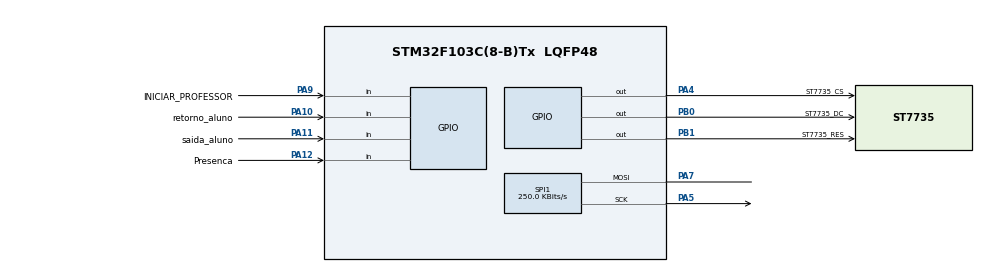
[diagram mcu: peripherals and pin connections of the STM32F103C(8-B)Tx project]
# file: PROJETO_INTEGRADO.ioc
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Mcu.Family=STM32F1
Mcu.Name=STM32F103C(8-B)Tx
Mcu.Package=LQFP48
NVIC.PriorityGroup=NVIC_PRIORITYGROUP_4
PA10.GPIO_Label=retorno_aluno
PA10.GPIO_PuPd=GPIO_PULLUP
PA10.Signal=GPIO_Input
PA11.GPIO_Label=saida_aluno
PA11.GPIO_PuPd=GPIO_PULLUP
PA11.Signal=GPIO_Input
PA12.GPIO_Label=Presenca
PA12.GPIO_PuPd=GPIO_PULLUP
PA12.Signal=GPIO_Input
PA13.Mode=Serial_Wire
PA13.Signal=SYS_JTMS-SWDIO
PA14.Mode=Serial_Wire
PA14.Signal=SYS_JTCK-SWCLK
PA4.GPIO_Label=ST7735_CS
PA4.Signal=GPIO_Output
PA5.Mode=Simplex_Bidirectional_Master
PA5.Signal=SPI1_SCK
PA7.Mode=Simplex_Bidirectional_Master
PA7.Signal=SPI1_MOSI
PA9.GPIO_Label=INICIAR_PROFESSOR
PA9.GPIO_PuPd=GPIO_PULLUP
PA9.Signal=GPIO_Input
PB0.GPIO_Label=ST7735_DC
PB0.Signal=GPIO_Output
PB1.GPIO_Label=ST7735_RES
PB1.Signal=GPIO_Output
ProjectManager.HeapSize=0x200
ProjectManager.StackSize=0x400
ProjectManager.TargetToolchain=STM32CubeIDE
RCC.APB1Freq_Value=8000000
RCC.APB2Freq_Value=8000000
SPI1.BaudRatePrescaler=SPI_BAUDRATEPRESCALER_32
SPI1.CalculateBaudRate=250.0 KBits/s
SPI1.Direction=SPI_DIRECTION_1LINE
SPI1.Mode=SPI_MODE_MASTER
SPI1.VirtualType=VM_MASTER
board=custom

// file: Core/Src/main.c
/* USER CODE BEGIN Header */
/**
  ******************************************************************************
  * @file           : main.c
  * @brief          : Main program body
  ******************************************************************************
  * @attention
  *
  * <h2><center>&copy; Copyright (c) 2026 STMicroelectronics.
  * All rights reserved.</center></h2>
  *
  * This software component is licensed by ST under BSD 3-Clause license,
  * the "License"; You may not use this file except in compliance with the
  * License. You may obtain a copy of the License at:
  *                        opensource.org/licenses/BSD-3-Clause
  *
  ******************************************************************************
  */
/* USER CODE END Header */
#include "main.h"

/* USER CODE BEGIN Includes */
#include <stdlib.h>
#include <stdio.h>
#include "fonts.h"
#include <string.h>
#include "st7735.h"
/* USER CODE END Includes */

/* USER CODE BEGIN PTD */
typedef enum {
TELA_INICIO,
TELA_SENHA,
TELA_MENU,
TELA_PRESENCA,
TELA_SAIDA,
TELA_BLOQUEADO,
TELA_RELATORIO
} Tela;
/* USER CODE END PTD */

/* USER CODE BEGIN PD */
#define INICIAR_PROFESSOR_PORT GPIOA
#define INICIAR_PROFESSOR_PIN GPIO_PIN_9

#define RETORNO_ALUNO_PORT GPIOA
#define RETORNO_ALUNO_PIN GPIO_PIN_10

#define SAIDA_ALUNO_PORT GPIOA
#define SAIDA_ALUNO_PIN GPIO_PIN_11

#define PRESENCA_PORT GPIOA
#define PRESENCA_PIN GPIO_PIN_12

#define READ_BTN(port, pin) HAL_GPIO_ReadPin(port, pin)

#define MAX_FORA 3
#define MENU_TOTAL 4
/* USER CODE END PD */

SPI_HandleTypeDef hspi1;

/* USER CODE BEGIN PV */
GPIO_PinState estado_anterior = GPIO_PIN_RESET;
GPIO_PinState est_inicio_ant = GPIO_PIN_RESET;
GPIO_PinState est_presenca_ant = GPIO_PIN_RESET;
GPIO_PinState est_saida_ant = GPIO_PIN_RESET;
GPIO_PinState est_retorno_ant = GPIO_PIN_RESET;

char buffer[30];

uint8_t index_senha = 0;
char senha_correta[] = "1234";
char senha_digitada[5];

int tentativas = 0;
int tentativas_max = 3;

uint8_t indice = 0; //controla a posição da string a proxima tecla é slv
uint32_t tempo_inicio = 0;
uint32_t tempo = 0;
uint8_t bloqueado = 0;
uint8_t tempo_bloqueado = 30;
uint8_t tempo_inicio_bloqueio = 0;

uint8_t alunos_presentes = 0;
uint8_t alunos_fora = 0;
uint8_t alunos_maximo = 40;

Tela tela_atual = TELA_INICIO;

uint8_t menu_index = 0;
static uint8_t tela_anterior = 255;
uint16_t total_saidas = 0;
/* USER CODE END PV */

void SystemClock_Config(void);
static void MX_GPIO_Init(void);
static void MX_SPI1_Init(void);

int main(void)
{

  /* MCU Configuration--------------------------------------------------------*/

  /* Reset of all peripherals, Initializes the Flash interface and the Systick. */
  HAL_Init();

  /* Configure the system clock */
  SystemClock_Config();

  /* Initialize all configured peripherals */
  MX_GPIO_Init();
  MX_SPI1_Init();
  /* USER CODE BEGIN 2 */
  ST7735_Init();

  /* USER CODE END 2 */

  /* Infinite loop */
  /* USER CODE BEGIN WHILE */
  while (1)
  {

	  GPIO_PinState INICIAR_PROFESSOR = HAL_GPIO_ReadPin(INICIAR_PROFESSOR_PORT, INICIAR_PROFESSOR_PIN);
	  GPIO_PinState PRESENCA = HAL_GPIO_ReadPin(PRESENCA_PORT, PRESENCA_PIN);
	  GPIO_PinState SAIDA_ALUNO = HAL_GPIO_ReadPin(SAIDA_ALUNO_PORT, SAIDA_ALUNO_PIN);
	  GPIO_PinState RETORNO_ALUNO = HAL_GPIO_ReadPin(RETORNO_ALUNO_PORT, RETORNO_ALUNO_PIN);

	  if (tela_atual != tela_anterior)
	  {
	      ST7735_FillScreen(BLACK);
	      tela_anterior = tela_atual;
	  }

	  switch (tela_atual){

	  // =========================
	  case TELA_INICIO:
	// =========================

	  ST7735_WriteString(10, 20, "Pressione o botao para INICIAR", Font_7x10, WHITE, BLACK);

	  if (INICIAR_PROFESSOR == GPIO_PIN_RESET ){

		  HAL_Delay(200);

		  tela_atual = TELA_SENHA;

	  }
	  break;

	  case TELA_SENHA:

	      ST7735_WriteString(10, 10, "Digite a senha", Font_7x10, WHITE, BLACK);

	      // Mostra exatamente os dígitos digitados
	      sprintf(buffer, "Senha: %s", senha_digitada);
	      ST7735_WriteString(10, 30, buffer, Font_7x10, WHITE, BLACK);

	      // Só permite até 4 dígitos
	      if(index_senha < 4)
	      {
	          // BOTAO 1
	          if(HAL_GPIO_ReadPin(GPIOA, GPIO_PIN_9) == GPIO_PIN_RESET)
	          {
	              HAL_Delay(50);

	              if(HAL_GPIO_ReadPin(GPIOA, GPIO_PIN_9) == GPIO_PIN_RESET)
	              {
	                  senha_digitada[index_senha++] = '1';
	                  senha_digitada[index_senha] = '\0';

	                  HAL_Delay(200);
	              }
	          }

	          // BOTAO 2
	          if(HAL_GPIO_ReadPin(GPIOA, GPIO_PIN_10) == GPIO_PIN_RESET)
	          {
	              HAL_Delay(50);

	              if(HAL_GPIO_ReadPin(GPIOA, GPIO_PIN_10) == GPIO_PIN_RESET)
	              {
	                  senha_digitada[index_senha++] = '2';
	                  senha_digitada[index_senha] = '\0';

	                  HAL_Delay(200);
	              }
	          }

	          // BOTAO 3
	          if(HAL_GPIO_ReadPin(GPIOA, GPIO_PIN_11) == GPIO_PIN_RESET)
	          {
	              HAL_Delay(50);

	              if(HAL_GPIO_ReadPin(GPIOA, GPIO_PIN_11) == GPIO_PIN_RESET)
	              {
	                  senha_digitada[index_senha++] = '3';
	                  senha_digitada[index_senha] = '\0';

	                  HAL_Delay(200);
	              }
	          }

	          // BOTAO 4
	          if(HAL_GPIO_ReadPin(GPIOA, GPIO_PIN_12) == GPIO_PIN_RESET)
	          {
	              HAL_Delay(50);

	              if(HAL_GPIO_ReadPin(GPIOA, GPIO_PIN_12) == GPIO_PIN_RESET)
	              {
	                  senha_digitada[index_senha++] = '4';
	                  senha_digitada[index_senha] = '\0';

	                  HAL_Delay(200);
	              }
	          }
	      }

      // Verifica SOMENTE quando tiver 4 dígitos
	      if(index_senha == 4)
	      {
	          HAL_Delay(300);

	          if(strcmp(senha_digitada, senha_correta) == 0)
	          {
	              // senha correta
	              tentativas = 0;

	              tela_atual = TELA_MENU;
	          }
	          else
	          {
	              // Senha errada
	              tentativas++;

	              ST7735_FillRectangle(10, 50, 120, 20, BLACK);
	              ST7735_WriteString(10, 50, "Senha incorreta", Font_7x10, WHITE, BLACK);

	              HAL_Delay(1000);

	              if(tentativas >= tentativas_max)
	              {
	                  bloqueado = 1;

	                  tempo_inicio = HAL_GetTick();

	                  tela_atual = TELA_BLOQUEADO;
	              }
	          }

	          // Limpa senha para nova tentativa
	          memset(senha_digitada, 0, sizeof(senha_digitada));
	          index_senha = 0;

	          // Limpa linha da senha na tela
	          ST7735_FillRectangle(10, 30, 120, 20, BLACK);
	      }

	      break;

	  case TELA_BLOQUEADO:

	 	      tempo = (HAL_GetTick() - tempo_inicio) / 1000;

	 	      ST7735_WriteString(10, 10, "SISTEMA BLOQUEADO", Font_7x10, WHITE, BLACK);

	 	      sprintf(buffer, "Tempo: %lds", tempo_bloqueado - tempo);

	 	      ST7735_WriteString(10, 40,  buffer, Font_7x10, WHITE, BLACK);

	 	      // Quando acabar o tempo
	 	      if (tempo >= tempo_bloqueado)
	 	      {
	 	          bloqueado = 0;

	 	          tentativas = 0;

	 	          tela_atual = TELA_INICIO;
	 	      }

	 	      break;

	  ST7735_WriteString(10, 30, "PRESENCA = entrar", Font_7x10, WHITE, BLACK);

	  if (PRESENCA == GPIO_PIN_SET && est_presenca_ant == GPIO_PIN_RESET)
	  {
	      tela_atual = TELA_MENU;
	      HAL_Delay(300);
	  }
	  est_presenca_ant = PRESENCA;

	  break;

	  case TELA_MENU:

		  ST7735_WriteString(20, 5, "MENU PRINCIPAL", Font_7x10, WHITE, BLACK);

		    sprintf(buffer, "Presentes: %d", alunos_presentes);
		    ST7735_WriteString(10, 30, buffer, Font_7x10, WHITE, BLACK);

		    sprintf(buffer, "Fora da sala: %d", alunos_fora);
		    ST7735_WriteString(10, 50, buffer, Font_7x10, WHITE, BLACK);

		    if(alunos_fora > 0)
		    {
		        ST7735_WriteString(10, 70, "Saidas: OCUPADO", Font_7x10, RED, BLACK);
		    }
		    else
		    {
		        ST7735_WriteString(10, 70, "Saidas: LIVRE", Font_7x10, GREEN, BLACK);
		    }

	      // BOTAO ENTRADA
	      if(PRESENCA == GPIO_PIN_RESET && est_presenca_ant == GPIO_PIN_SET)
	      {
	          tela_atual = TELA_PRESENCA;
	          HAL_Delay(200);
	      }
	      est_presenca_ant = PRESENCA;

	      // BOTAO SAIDA
	      if(SAIDA_ALUNO == GPIO_PIN_RESET && est_saida_ant == GPIO_PIN_SET)
	      {
	          tela_atual = TELA_SAIDA;
	          HAL_Delay(200);
	      }
	      est_saida_ant = SAIDA_ALUNO;

	      // BOTAO RETORNO
	      if(RETORNO_ALUNO == GPIO_PIN_RESET && est_retorno_ant == GPIO_PIN_SET)
	      {
	          if(alunos_fora > 0)
	          {
	              alunos_fora--;
	              alunos_presentes++;
	          }

	          HAL_Delay(200);
	      }
	      est_retorno_ant = RETORNO_ALUNO;

	      // RELATORIO
	      if(INICIAR_PROFESSOR == GPIO_PIN_RESET && est_inicio_ant == GPIO_PIN_SET)
	      {
	          tela_atual = TELA_RELATORIO;
	          HAL_Delay(200);
	      }
	      est_inicio_ant = INICIAR_PROFESSOR;

	      break;

	      case TELA_PRESENCA:

	          // limpa a tela inteira
	          ST7735_FillScreen(BLACK);

	          //simula leitura facial
	          int matricula = 2345;

	          //verifica limite da sala
	          if(alunos_presentes < alunos_maximo)
	          {
	              alunos_presentes++;

	              ST7735_WriteString(10, 10, "ENTRADA LIBERADA", Font_7x10, WHITE, BLACK);

	              sprintf(buffer, "Matricula: %d", matricula);
	              ST7735_WriteString(10, 35, buffer, Font_7x10, WHITE, BLACK);

	              sprintf(buffer, "Presentes: %d", alunos_presentes);
	              ST7735_WriteString(10, 55, buffer, Font_7x10, WHITE, BLACK);
	          }
	          else
	          {
	              ST7735_WriteString(10, 20, "SALA LOTADA", Font_7x10, WHITE, BLACK);
	          }

	          HAL_Delay(100);

	          tela_atual = TELA_MENU;

	          break;

	  case TELA_SAIDA:

		  if(alunos_fora < MAX_FORA && alunos_presentes > 0)
	  {
	      alunos_fora++;
	      alunos_presentes--;
	      total_saidas++;

	      ST7735_WriteString(10, 10, "Saida liberada", Font_7x10, WHITE, BLACK);

	      sprintf(buffer, "fora: %d", alunos_fora);
	     ST7735_WriteString(5,30, buffer, Font_7x10, WHITE, BLACK);
	  }
		  else
	  {
	      ST7735_WriteString(10, 10, "Limite atingido", Font_7x10, WHITE, BLACK);
	  }

	  HAL_Delay(1000);
	  tela_atual = TELA_MENU;
	  break;

	  case TELA_RELATORIO:

	      ST7735_WriteString(15, 5, "RELATORIO FINAL", Font_7x10, WHITE, BLACK);

	      // ttotal regis
	      sprintf(buffer, "Registrados: %d", alunos_presentes + alunos_fora);
	      ST7735_WriteString(10, 25, buffer, Font_7x10, WHITE, BLACK);

	      // saidas totais
	      sprintf(buffer, "Saidas: %d", total_saidas);
	      ST7735_WriteString(10, 45, buffer, Font_7x10, WHITE, BLACK);

	      // aln fora
	      sprintf(buffer, "Fora sala: %d", alunos_fora);
	      ST7735_WriteString(10, 65, buffer, Font_7x10, WHITE, BLACK);

	      // volta
	      ST7735_WriteString(10, 95, "RET = Encerrar", Font_7x10, WHITE, BLACK);

	      // bt retormp
	      if(RETORNO_ALUNO == GPIO_PIN_RESET && INICIAR_PROFESSOR == GPIO_PIN_RESET)
	      {
	          alunos_presentes = 0;
	          alunos_fora = 0;
	          total_saidas = 0;

	          tela_atual = TELA_INICIO;

	          HAL_Delay(200);
	      }

	      est_retorno_ant = RETORNO_ALUNO;

	      break;
	  }
}
}

    /* USER CODE END WHILE */

void SystemClock_Config(void)
{
  RCC_OscInitTypeDef RCC_OscInitStruct = {0};
  RCC_ClkInitTypeDef RCC_ClkInitStruct = {0};

  /** Initializes the RCC Oscillators according to the specified parameters
  * in the RCC_OscInitTypeDef structure.
  */
  RCC_OscInitStruct.OscillatorType = RCC_OSCILLATORTYPE_HSI;
  RCC_OscInitStruct.HSIState = RCC_HSI_ON;
  RCC_OscInitStruct.HSICalibrationValue = RCC_HSICALIBRATION_DEFAULT;
  RCC_OscInitStruct.PLL.PLLState = RCC_PLL_NONE;
  if (HAL_RCC_OscConfig(&RCC_OscInitStruct) != HAL_OK)
  {
    Error_Handler();
  }
  /** Initializes the CPU, AHB and APB buses clocks
  */
  RCC_ClkInitStruct.ClockType = RCC_CLOCKTYPE_HCLK|RCC_CLOCKTYPE_SYSCLK
                              |RCC_CLOCKTYPE_PCLK1|RCC_CLOCKTYPE_PCLK2;
  RCC_ClkInitStruct.SYSCLKSource = RCC_SYSCLKSOURCE_HSI;
  RCC_ClkInitStruct.AHBCLKDivider = RCC_SYSCLK_DIV1;
  RCC_ClkInitStruct.APB1CLKDivider = RCC_HCLK_DIV1;
  RCC_ClkInitStruct.APB2CLKDivider = RCC_HCLK_DIV1;

  if (HAL_RCC_ClockConfig(&RCC_ClkInitStruct, FLASH_LATENCY_0) != HAL_OK)
  {
    Error_Handler();
  }
}

static void MX_SPI1_Init(void)
{

  /* SPI1 parameter configuration*/
  hspi1.Instance = SPI1;
  hspi1.Init.Mode = SPI_MODE_MASTER;
  hspi1.Init.Direction = SPI_DIRECTION_1LINE;
  hspi1.Init.DataSize = SPI_DATASIZE_8BIT;
  hspi1.Init.CLKPolarity = SPI_POLARITY_LOW;
  hspi1.Init.CLKPhase = SPI_PHASE_1EDGE;
  hspi1.Init.NSS = SPI_NSS_SOFT;
  hspi1.Init.BaudRatePrescaler = SPI_BAUDRATEPRESCALER_32;
  hspi1.Init.FirstBit = SPI_FIRSTBIT_MSB;
  hspi1.Init.TIMode = SPI_TIMODE_DISABLE;
  hspi1.Init.CRCCalculation = SPI_CRCCALCULATION_DISABLE;
  hspi1.Init.CRCPolynomial = 10;
  if (HAL_SPI_Init(&hspi1) != HAL_OK)
  {
    Error_Handler();
  }

}

static void MX_GPIO_Init(void)
{
  GPIO_InitTypeDef GPIO_InitStruct = {0};

  /* GPIO Ports Clock Enable */
  __HAL_RCC_GPIOA_CLK_ENABLE();
  __HAL_RCC_GPIOB_CLK_ENABLE();

  /*Configure GPIO pin Output Level */
  HAL_GPIO_WritePin(ST7735_CS_GPIO_Port, ST7735_CS_Pin, GPIO_PIN_RESET);

  /*Configure GPIO pin Output Level */
  HAL_GPIO_WritePin(GPIOB, ST7735_DC_Pin|ST7735_RES_Pin, GPIO_PIN_RESET);

  /*Configure GPIO pin : ST7735_CS_Pin */
  GPIO_InitStruct.Pin = ST7735_CS_Pin;
  GPIO_InitStruct.Mode = GPIO_MODE_OUTPUT_PP;
  GPIO_InitStruct.Pull = GPIO_NOPULL;
  GPIO_InitStruct.Speed = GPIO_SPEED_FREQ_LOW;
  HAL_GPIO_Init(ST7735_CS_GPIO_Port, &GPIO_InitStruct);

  /*Configure GPIO pins : ST7735_DC_Pin ST7735_RES_Pin */
  GPIO_InitStruct.Pin = ST7735_DC_Pin|ST7735_RES_Pin;
  GPIO_InitStruct.Mode = GPIO_MODE_OUTPUT_PP;
  GPIO_InitStruct.Pull = GPIO_NOPULL;
  GPIO_InitStruct.Speed = GPIO_SPEED_FREQ_LOW;
  HAL_GPIO_Init(GPIOB, &GPIO_InitStruct);

  /*Configure GPIO pins : INICIAR_PROFESSOR_Pin retorno_aluno_Pin saida_aluno_Pin Presenca_Pin */
  GPIO_InitStruct.Pin = INICIAR_PROFESSOR_PIN|retorno_aluno_Pin|saida_aluno_Pin|Presenca_Pin;
  GPIO_InitStruct.Mode = GPIO_MODE_INPUT;
  GPIO_InitStruct.Pull = GPIO_PULLUP;
  HAL_GPIO_Init(GPIOA, &GPIO_InitStruct);

}

void Error_Handler(void)
{
  __disable_irq();
  while (1)
  {
  }
}

/************************ (C) COPYRIGHT STMicroelectronics *****END OF FILE****/
